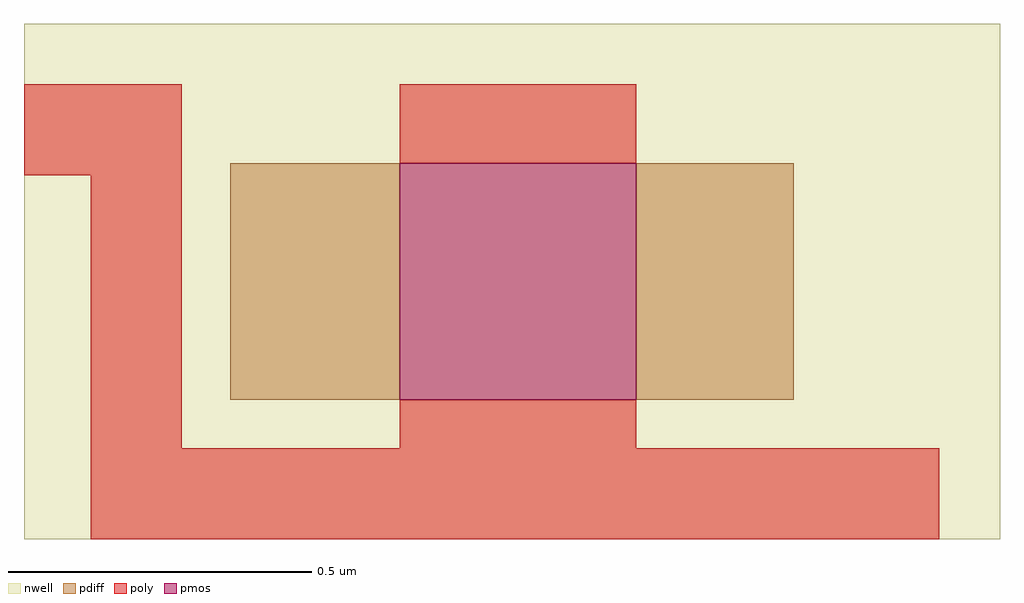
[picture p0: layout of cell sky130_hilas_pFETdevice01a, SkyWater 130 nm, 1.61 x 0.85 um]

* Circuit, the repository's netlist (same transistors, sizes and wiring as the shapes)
* Copyright 2020 The Hilas PDK Authors
* 
* This file is part of HILAS.
* 
* HILAS is free software: you can redistribute it and/or modify
* it under the terms of the GNU Lesser General Public License as published by
* the Free Software Foundation, version 3 of the License.
* 
* HILAS is distributed in the hope that it will be useful,
* but WITHOUT ANY WARRANTY; without even the implied warranty of
* MERCHANTABILITY or FITNESS FOR A PARTICULAR PURPOSE.  See the
* GNU Lesser General Public License for more details.
* 
* You should have received a copy of the GNU Lesser General Public License
* along with HILAS.  If not, see <https://www.gnu.org/licenses/>.
* 
* Licensed under the Lesser General Public License, Version 3.0 (the "License");
* you may not use this file except in compliance with the License.
* You may obtain a copy of the License at
* 
* https://www.gnu.org/licenses/lgpl-3.0.en.html
* 
* Unless required by applicable law or agreed to in writing, software
* distributed under the License is distributed on an "AS IS" BASIS,
* WITHOUT WARRANTIES OR CONDITIONS OF ANY KIND, either express or implied.
* See the License for the specific language governing permissions and
* limitations under the License.
* 
* SPDX-License-Identifier: LGPL-3.0
* 
* 

* NGSPICE file created from sky130_hilas_pFETdevice01a.ext - technology: sky130A


* Top level circuit sky130_hilas_pFETdevice01a

X0 a_42_n38# a_n160_36# a_n92_n38# w_n160_n84# sky130_fd_pr__pfet_01v8 w=390000u l=390000u
.end

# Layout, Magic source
magic
tech sky130A
<< nwell >>
rect 0 0 161 85
<< pmos >>
rect 62 23 101 62
<< pdiff >>
rect 34 23 62 62
rect 101 23 127 62
<< poly >>
rect 0 60 26 75
rect 62 62 101 75
rect 11 15 26 60
rect 62 15 101 23
rect 11 0 151 15
<< properties >>
string LEFsite unithd
string LEFclass CORE
string LEFsymmetry X Y R90
<< end >>
